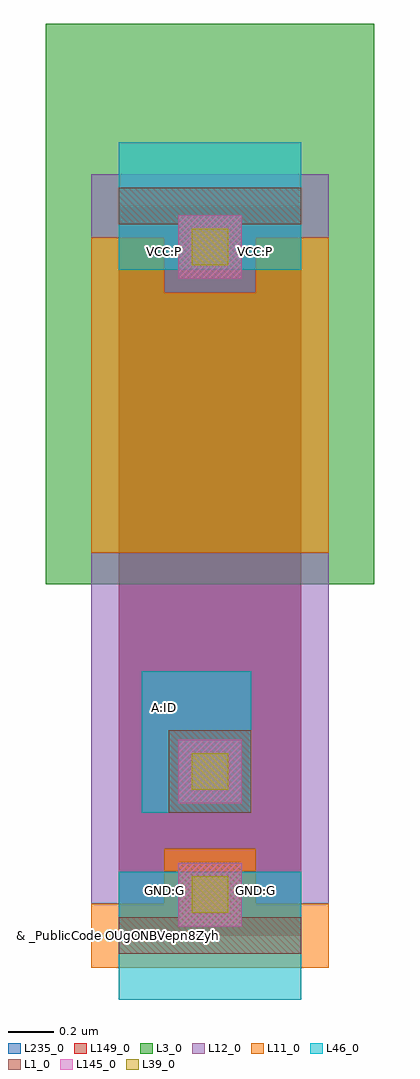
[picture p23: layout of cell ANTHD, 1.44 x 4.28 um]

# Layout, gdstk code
from math import pi, radians
import gdstk
lib = gdstk.Library(unit=1e-6, precision=1e-09)
def R(c, l, rs):  # rectangles x0, y0, x1, y1
    for r in rs: c.add(gdstk.rectangle(r[:2], r[2:], *l))
def P(c, l, *ps):  # polygons
    for p in ps: c.add(gdstk.Polygon(p, *l))
L1_0 = (1, 0)
L3_0 = (3, 0)
L11_0 = (11, 0)
L12_0 = (12, 0)
L39_0 = (39, 0)
L46_0 = (46, 0)
L145_0 = (145, 0)
L149_0 = (149, 0)
L235_0 = (235, 0)

c_mc = lib.new_cell('MC')
R(c_mc, L39_0, [(-0.08,-0.08,0.08,0.08)])
R(c_mc, L46_0, [(-0.08,-0.14,0.08,0.14)])
R(c_mc, L145_0, [(-0.14,-0.14,0.14,0.14)])

ailenmgdfkm__41gum4xw0 = lib.new_cell('AILENMGDFKM$$41Gum4XW0')
R(ailenmgdfkm__41gum4xw0, L1_0, [(0,-0.08,0.8,0.08), (0.26,0.08,0.54,0.32), (0.22,0.54,0.58,0.9), (0.26,2.88,0.54,3.12), (0,3.12,0.8,3.28)])
R(ailenmgdfkm__41gum4xw0, L3_0, [(-0.32,1.54,1.12,4)])
P(ailenmgdfkm__41gum4xw0, L11_0, [(0.92,3.06),(0.6,3.06),(0.6,2.82),(0.2,2.82),(0.2,3.06),(-0.12,3.06),(-0.12,1.68),(0.92,1.68)],
  [(-0.12,-0.14),(-0.12,0.14),(0.2,0.14),(0.2,0.38),(0.6,0.38),(0.6,0.14),(0.92,0.14),(0.92,-0.14)])
P(ailenmgdfkm__41gum4xw0, L12_0, [(-0.12,3.06),(-0.12,3.34),(0.92,3.34),(0.92,3.06),(0.6,3.06),(0.6,2.82),(0.2,2.82),(0.2,3.06)],
  [(0.92,1.68),(-0.12,1.68),(-0.12,0.14),(0.2,0.14),(0.2,0.38),(0.6,0.38),(0.6,0.14),(0.92,0.14)])
R(ailenmgdfkm__41gum4xw0, L46_0, [(0.1,0.54,0.58,1.16)])
R(ailenmgdfkm__41gum4xw0, L149_0, [(0,0,0.8,3.2)])
R(ailenmgdfkm__41gum4xw0, L235_0, [(0,0,0.8,3.2), (0,0,0.8,3.2), (0,0,0.8,3.2), (0,0,0.8,3.2), (0,0,0.8,3.2), (0,0,0.8,3.2), (0,0,0.8,3.2), (0,0,0.8,3.2), (0,0,0.8,3.2), (0,0,0.8,3.2), (0,0,0.8,3.2), (0,0,0.8,3.2), (0,0,0.8,3.2), (0,0,0.8,3.2)])
ailenmgdfkm__41gum4xw0.add(gdstk.FlexPath([(0,0),(0.8,0)], 0.56, ends="flush", simple_path=True, layer=46, datatype=0))  # L46_0
ailenmgdfkm__41gum4xw0.add(gdstk.FlexPath([(0,3.2),(0.8,3.2)], 0.56, ends="flush", simple_path=True, layer=46, datatype=0))  # L46_0
ailenmgdfkm__41gum4xw0.add(gdstk.FlexPath([(0.2,0),(0.2,3.2)], 0, ends="flush", simple_path=True, layer=145, datatype=0))  # L145_0
ailenmgdfkm__41gum4xw0.add(gdstk.FlexPath([(0.6,0),(0.6,3.2)], 0, ends="flush", simple_path=True, layer=145, datatype=0))  # L145_0
ailenmgdfkm__41gum4xw0.add(gdstk.FlexPath([(0,0.2),(0.8,0.2)], 0, ends="flush", simple_path=True, layer=145, datatype=0))  # L145_0
ailenmgdfkm__41gum4xw0.add(gdstk.FlexPath([(0,0.6),(0.8,0.6)], 0, ends="flush", simple_path=True, layer=145, datatype=0))  # L145_0
ailenmgdfkm__41gum4xw0.add(gdstk.FlexPath([(0,1),(0.8,1)], 0, ends="flush", simple_path=True, layer=145, datatype=0))  # L145_0
ailenmgdfkm__41gum4xw0.add(gdstk.FlexPath([(0,1.4),(0.8,1.4)], 0, ends="flush", simple_path=True, layer=145, datatype=0))  # L145_0
ailenmgdfkm__41gum4xw0.add(gdstk.FlexPath([(0,1.8),(0.8,1.8)], 0, ends="flush", simple_path=True, layer=145, datatype=0))  # L145_0
ailenmgdfkm__41gum4xw0.add(gdstk.FlexPath([(0,2.2),(0.8,2.2)], 0, ends="flush", simple_path=True, layer=145, datatype=0))  # L145_0
ailenmgdfkm__41gum4xw0.add(gdstk.FlexPath([(0,2.6),(0.8,2.6)], 0, ends="flush", simple_path=True, layer=145, datatype=0))  # L145_0
ailenmgdfkm__41gum4xw0.add(gdstk.FlexPath([(0,3),(0.8,3)], 0, ends="flush", simple_path=True, layer=145, datatype=0))  # L145_0
ailenmgdfkm__41gum4xw0.add(gdstk.Reference(c_mc, (0.4,3.02), rotation=pi/2))
ailenmgdfkm__41gum4xw0.add(gdstk.Reference(c_mc, (0.4,0.18), rotation=pi/2))
ailenmgdfkm__41gum4xw0.add(gdstk.Reference(c_mc, (0.4,0.72), rotation=pi/2))
ailenmgdfkm__41gum4xw0.add(gdstk.Label('#Id:7JQJaQKD4XF6RXVV5bbWNLABMd92ZLRaK99JL0306AKC574V4A3EOSP8MXXWHY99T6WBH22210RAL9', (0.02,0.02), layer=147, texttype=0))
ailenmgdfkm__41gum4xw0.add(gdstk.Label('VCC:P', (0.2,3), layer=101, texttype=0))
ailenmgdfkm__41gum4xw0.add(gdstk.Label('VCC:P', (0.6,3), layer=101, texttype=0))
ailenmgdfkm__41gum4xw0.add(gdstk.Label('GND:G', (0.2,0.2), layer=101, texttype=0))
ailenmgdfkm__41gum4xw0.add(gdstk.Label('GND:G', (0.6,0.2), layer=101, texttype=0))
ailenmgdfkm__41gum4xw0.add(gdstk.Label('A:ID', (0.2,1), layer=101, texttype=0))
ailenmgdfkm__41gum4xw0.add(gdstk.Label('ANTHD', (0,0), layer=144, texttype=0))

anthd = lib.new_cell('ANTHD')
R(anthd, L149_0, [(0,0,0.8,3.2)])
anthd.add(gdstk.Reference(ailenmgdfkm__41gum4xw0, (0,0)))
anthd.add(gdstk.Label('& _PublicCode OUgONBVepn8Zyhuhb7nzKSFGv0ozQ4p7', (0,0), layer=3, texttype=0))
anthd.add(gdstk.Label('& Metric 2.56', (0,0), layer=3, texttype=0))
anthd.add(gdstk.Label('& Version 2009Q1V3.0', (0,0), layer=3, texttype=0))
anthd.add(gdstk.Label('& Product FSC0H_D_GENERIC_CORE', (0,0), layer=3, texttype=0))
anthd.add(gdstk.Label('& Vendor Faraday_Technology_Corp.', (0,0), layer=3, texttype=0))
anthd.add(gdstk.Label('#Id:7JQJaQKD4XF6RXVV5bbWNLABMd92ZLRaK99JL0306AKC574V4A3EOSP8MXXWHY99T6WBH22210RAL9', (0.02,0.02), layer=147, texttype=0))
anthd.add(gdstk.Label('VCC:P', (0.2,3), layer=101, texttype=0))
anthd.add(gdstk.Label('VCC:P', (0.6,3), layer=101, texttype=0))
anthd.add(gdstk.Label('GND:G', (0.2,0.2), layer=101, texttype=0))
anthd.add(gdstk.Label('GND:G', (0.6,0.2), layer=101, texttype=0))
anthd.add(gdstk.Label('A:ID', (0.2,1), layer=101, texttype=0))
anthd.add(gdstk.Label('ANTHD', (0,0), layer=144, texttype=0))

lib.write_gds('ANTHD.gds')
